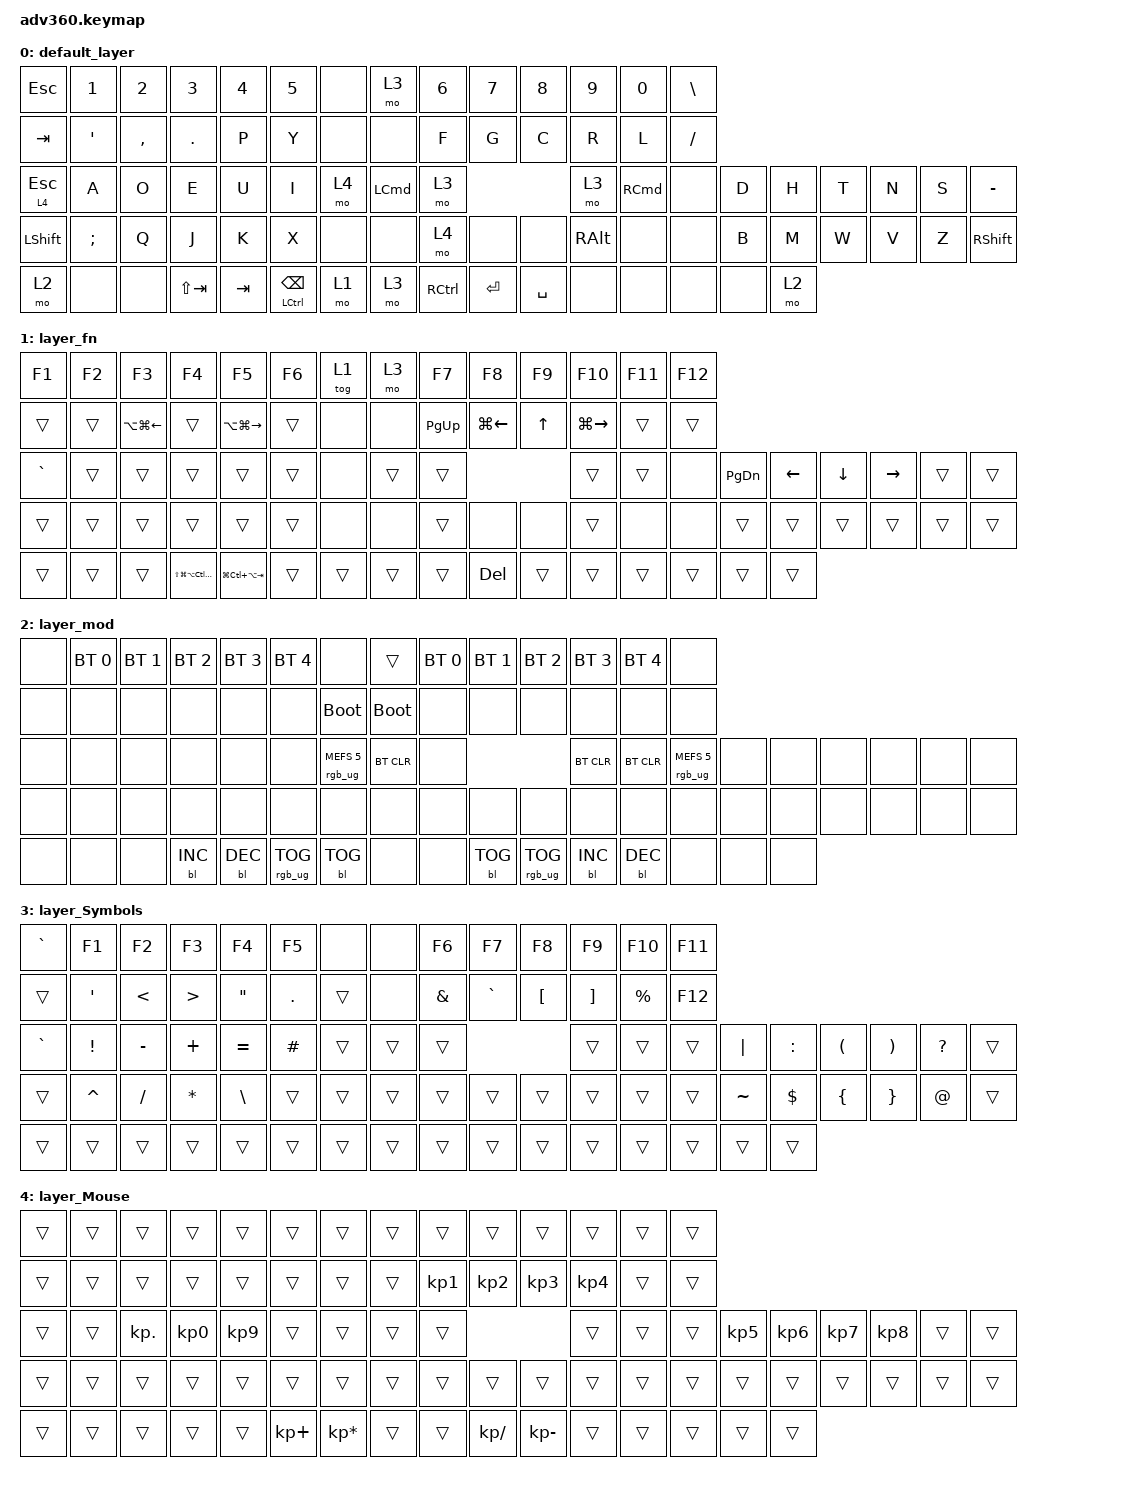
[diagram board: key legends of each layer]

/*
 * Copyright (c) 2020 The ZMK Contributors
 *
 * SPDX-License-Identifier: MIT
 */


/* THIS FILE WAS GENERATED!
 *
 * This file was generated automatically. You may or may not want to
 * edit it directly.
 */

#include <behaviors.dtsi>
#include <dt-bindings/zmk/keys.h>
#include <dt-bindings/zmk/bt.h>
#include <dt-bindings/zmk/rgb.h>
#include <dt-bindings/zmk/backlight.h>

/ {
  behaviors {
    #include "macros.dtsi"

    hm: homerow_mods {
        compatible = "zmk,behavior-hold-tap";
        label = "HOMEROW_MODS";
        #binding-cells = <2>;
        tapping-term-ms = <200>;
        quick_tap_ms = <175>;
        flavor = "tap-preferred";
        bindings = <&kp>, <&kp>;
    };
  };

    keymap {
        compatible = "zmk,keymap";


        default_layer {
            bindings = <
   &kp ESCAPE            &kp N1     &kp N2       &kp N3   &kp N4                      &kp N5            &none     &mo 3     &kp N6     &kp N7     &kp N8    &kp N9    &kp N0  &kp BACKSLASH
      &kp TAB  &kp SINGLE_QUOTE  &kp COMMA   &kp PERIOD    &kp P                       &kp Y            &none     &none      &kp F      &kp G      &kp C     &kp R     &kp L      &kp SLASH
 &lt 4 ESCAPE             &kp A      &kp O        &kp E    &kp U                       &kp I            &mo 4  &kp LCMD      &mo 3                           &mo 3  &kp RCMD          &none   &kp D   &kp H   &kp T   &kp N   &kp S  &kp MINUS
    &kp LSHFT     &kp SEMICOLON      &kp Q        &kp J    &kp K                       &kp X            &none     &none      &mo 4      &none      &none  &kp RALT     &none          &none   &kp B   &kp M   &kp W   &kp V   &kp Z  &kp RSHFT
        &mo 2             &none      &none  &kp LS(TAB)  &kp TAB  &mt LEFT_CONTROL BACKSPACE            &mo 1     &mo 3  &kp RCTRL  &kp ENTER  &kp SPACE     &none     &none          &none   &none   &mo 2
            >;
        };

        layer_fn {
            bindings = <
    &kp F1  &kp F2            &kp F3                   &kp F4               &kp F5  &kp F6            &tog 1   &mo 3       &kp F7              &kp F8        &kp F9              &kp F10  &kp F11  &kp F12
    &trans  &trans  &kp LA(LG(LEFT))                   &trans    &kp LA(LG(RIGHT))  &trans             &none   &none  &kp PAGE_UP  &kp LG(LEFT_ARROW)  &kp UP_ARROW  &kp LG(RIGHT_ARROW)   &trans   &trans
 &kp GRAVE  &trans            &trans                   &trans               &trans  &trans             &none  &trans       &trans                                                 &trans   &trans    &none  &kp PAGE_DOWN  &kp LEFT  &kp DOWN  &kp RIGHT  &trans  &trans
    &trans  &trans            &trans                   &trans               &trans  &trans             &none   &none       &trans               &none         &none               &trans    &none    &none         &trans    &trans    &trans     &trans  &trans  &trans
    &trans  &trans            &trans  &kp LS(LG(LA(LC(TAB))))  &kp LG(LC(LA(TAB)))  &trans            &trans  &trans       &trans          &kp DELETE        &trans               &trans   &trans   &trans         &trans    &trans
            >;
        };

        layer_mod {
            bindings = <
  &none  &bt BT_SEL 0  &bt BT_SEL 1  &bt BT_SEL 2  &bt BT_SEL 3     &bt BT_SEL 4                             &none       &trans  &bt BT_SEL 0  &bt BT_SEL 1     &bt BT_SEL 2  &bt BT_SEL 3  &bt BT_SEL 4                   &none
  &none         &none         &none         &none         &none            &none                       &bootloader  &bootloader         &none         &none            &none         &none         &none                   &none
  &none         &none         &none         &none         &none            &none            &rgb_ug RGB_MEFS_CMD 5   &bt BT_CLR         &none                                   &bt BT_CLR    &bt BT_CLR  &rgb_ug RGB_MEFS_CMD 5   &none   &none   &none   &none   &none   &none
  &none         &none         &none         &none         &none            &none                             &none        &none         &none         &none            &none         &none         &none                   &none   &none   &none   &none   &none   &none   &none
  &none         &none         &none    &bl BL_INC    &bl BL_DEC  &rgb_ug RGB_TOG                        &bl BL_TOG        &none         &none    &bl BL_TOG  &rgb_ug RGB_TOG    &bl BL_INC    &bl BL_DEC                   &none   &none   &none
            >;
        };

        layer_Symbols {
            bindings = <
 &kp GRAVE            &kp F1         &kp F2            &kp F3             &kp F4      &kp F5             &none   &none         &kp F6     &kp F7            &kp F8             &kp F9      &kp F10  &kp F11
    &trans  &kp SINGLE_QUOTE  &kp LESS_THAN  &kp GREATER_THAN  &kp DOUBLE_QUOTES  &kp PERIOD            &trans   &none  &kp AMPERSAND  &kp GRAVE  &kp LEFT_BRACKET  &kp RIGHT_BRACKET  &kp PERCENT  &kp F12
 &kp GRAVE   &kp EXCLAMATION      &kp MINUS          &kp PLUS          &kp EQUAL    &kp HASH            &trans  &trans         &trans                                          &trans       &trans   &trans   &kp PIPE   &kp COLON  &kp LEFT_PARENTHESIS  &kp RIGHT_PARENTHESIS  &kp QUESTION  &trans
    &trans         &kp CARET      &kp SLASH      &kp ASTERISK      &kp BACKSLASH      &trans            &trans  &trans         &trans     &trans            &trans             &trans       &trans   &trans  &kp TILDE  &kp DOLLAR        &kp LEFT_BRACE        &kp RIGHT_BRACE        &kp AT  &trans
    &trans            &trans         &trans            &trans             &trans      &trans            &trans  &trans         &trans     &trans            &trans             &trans       &trans   &trans     &trans      &trans
            >;
        };

        layer_Mouse {
            bindings = <
 &trans  &trans      &trans     &trans     &trans       &trans                     &trans  &trans     &trans         &trans        &trans     &trans  &trans  &trans
 &trans  &trans      &trans     &trans     &trans       &trans                     &trans  &trans  &kp KP_N1      &kp KP_N2     &kp KP_N3  &kp KP_N4  &trans  &trans
 &trans  &trans  &kp KP_DOT  &kp KP_N0  &kp KP_N9       &trans                     &trans  &trans     &trans                                  &trans  &trans  &trans  &kp KP_N5  &kp KP_N6  &kp KP_N7  &kp KP_N8  &trans  &trans
 &trans  &trans      &trans     &trans     &trans       &trans                     &trans  &trans     &trans         &trans        &trans     &trans  &trans  &trans     &trans     &trans     &trans     &trans  &trans  &trans
 &trans  &trans      &trans     &trans     &trans  &kp KP_PLUS            &kp KP_MULTIPLY  &trans     &trans  &kp KP_DIVIDE  &kp KP_MINUS     &trans  &trans  &trans     &trans     &trans
            >;
        };

    };
};
